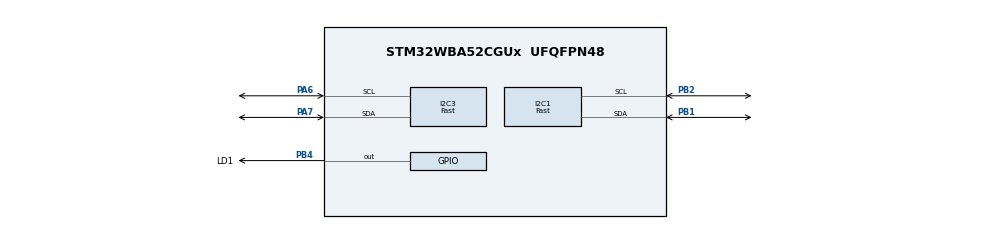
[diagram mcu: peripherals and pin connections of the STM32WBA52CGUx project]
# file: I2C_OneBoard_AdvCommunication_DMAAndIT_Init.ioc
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CORTEX_M33_NS.userName=CORTEX_M33
GPDMA1.CIRCULARMODE_GPDMACH0=DISABLE
GPDMA1.CIRCULARMODE_GPDMACH1=DISABLE
GPDMA1.DESTDATAWIDTH_GPDMACH0=DMA_DEST_DATAWIDTH_BYTE
GPDMA1.DESTDATAWIDTH_GPDMACH1=DMA_DEST_DATAWIDTH_BYTE
GPDMA1.DESTINC_GPDMACH1=DMA_DINC_INCREMENTED
GPDMA1.DIRECTION_GPDMACH0=DMA_MEMORY_TO_PERIPH
GPDMA1.IPHANDLE_GPDMACH0-SIMPLEREQUEST_GPDMACH0=__NULL
GPDMA1.IPHANDLE_GPDMACH1-SIMPLEREQUEST_GPDMACH1=__NULL
GPDMA1.PRIORITY_GPDMACH0=DMA_LOW_PRIORITY_HIGH_WEIGHT
GPDMA1.PRIORITY_GPDMACH1=DMA_LOW_PRIORITY_HIGH_WEIGHT
GPDMA1.REQUEST_GPDMACH0=GPDMA1_REQUEST_I2C3_TX
GPDMA1.REQUEST_GPDMACH1=GPDMA1_REQUEST_I2C3_RX
GPDMA1.SRCDATAWIDTH_GPDMACH0=DMA_SRC_DATAWIDTH_BYTE
GPDMA1.SRCDATAWIDTH_GPDMACH1=DMA_SRC_DATAWIDTH_BYTE
GPDMA1.SRCINC_GPDMACH0=DMA_SINC_INCREMENTED
I2C1.AddressingMode=I2C_ADDRESSINGMODE_7BIT
I2C1.Analog_Filter=I2C_ANALOGFILTER_ENABLE
I2C1.DualAddressMode=I2C_DUALADDRESS_DISABLE
I2C1.GeneralCallMode=I2C_GENERALCALL_DISABLE
I2C1.I2C_Coeff_DF=0x0
I2C1.I2C_Fall_Time=10
I2C1.I2C_Rise_Time=100
I2C1.I2C_Speed_Mode=I2C_Fast
I2C1.NoStretchMode=I2C_NOSTRETCH_DISABLE
I2C1.OwnAddress=0x5a
I2C1.Speed=400
I2C1.Timing=0x20601138
I2C3.AddressingMode=I2C_ADDRESSINGMODE_7BIT
I2C3.Analog_Filter=I2C_ANALOGFILTER_ENABLE
I2C3.DualAddressMode=I2C_DUALADDRESS_DISABLE
I2C3.GeneralCallMode=I2C_GENERALCALL_DISABLE
I2C3.I2C_Coeff_DF=0
I2C3.I2C_Fall_Time=10
I2C3.I2C_Rise_Time=100
I2C3.I2C_Speed_Mode=I2C_Fast
I2C3.NoStretchMode=I2C_NOSTRETCH_DISABLE
I2C3.OwnAddress=0
I2C3.Speed=400
I2C3.Timing=0x20601138
Mcu.Family=STM32WBA
Mcu.Name=STM32WBA52CGUx
Mcu.Package=UFQFPN48
NVIC.GPDMA1_Channel0_IRQn=true\:0\:0\:false\:false\:true\:false\:true\:true
NVIC.GPDMA1_Channel1_IRQn=true\:0\:0\:false\:false\:true\:false\:true\:true
NVIC.PriorityGroup=NVIC_PRIORITYGROUP_4
OSC_IN.Mode=HSE-External-Oscillator
OSC_IN.Signal=RCC_OSC_IN
OSC_OUT.Mode=HSE-External-Oscillator
OSC_OUT.Signal=RCC_OSC_OUT
PA6.GPIO_Pu=GPIO_PULLUP
PA6.GPIO_Speed=GPIO_SPEED_FREQ_HIGH
PA6.Mode=I2C
PA6.Signal=I2C3_SCL
PA7.GPIO_Pu=GPIO_PULLUP
PA7.GPIO_Speed=GPIO_SPEED_FREQ_HIGH
PA7.Mode=I2C
PA7.Signal=I2C3_SDA
PB1.GPIO_Pu=GPIO_PULLUP
PB1.GPIO_Speed=GPIO_SPEED_FREQ_HIGH
PB1.Mode=I2C
PB1.Signal=I2C1_SDA
PB2.GPIO_Pu=GPIO_PULLUP
PB2.GPIO_Speed=GPIO_SPEED_FREQ_HIGH
PB2.Mode=I2C
PB2.Signal=I2C1_SCL
PB4\ (NJTRST).GPIO_Label=LD1
PB4\ (NJTRST).PinState=GPIO_PIN_SET
PB4\ (NJTRST).Signal=GPIO_Output
ProjectManager.HeapSize=0x200
ProjectManager.StackSize=0x400
ProjectManager.TargetToolchain=EWARM V9.20
RCC.ADCFreq_Value=100000000
RCC.AHB5CLKDivider=DIV4
RCC.AHBFreq_Value=100000000
RCC.APB1Freq_Value=100000000
RCC.APB1TimFreq_Value=100000000
RCC.APB2Freq_Value=100000000
RCC.APB2TimFreq_Value=100000000
RCC.CortexFreq_Value=12500000
RCC.HCLKFreq_Value=100000000
RCC.HSE_VALUE=32000000
RCC.HSI_VALUE=16000000
RCC.LSE_VALUE=32768
RCC.PLLM=4
RCC.PLLN=25
RCC.PLLSourceVirtual=RCC_PLLSOURCE_HSE
RCC.SYSCLKFreq_VALUE=100000000
RCC.SYSCLKSourceVirtual=RCC_SYSCLKSOURCE_PLLCLK
RCC.VCOOutputFreq_Value=200000000
VP_GPDMA1_VS_GPDMACH0.Mode=SIMPLEREQUEST_GPDMACH0
VP_GPDMA1_VS_GPDMACH1.Mode=SIMPLEREQUEST_GPDMACH1
VP_ICACHE_VS_ICACHE.Mode=DirectMappedCache
VP_PWR_VS_SECSignals.Mode=Security/Privilege
board=custom

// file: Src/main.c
/* USER CODE BEGIN Header */
/**
  ******************************************************************************
  * @file    Examples_LL/I2C/I2C_OneBoard_AdvCommunication_DMAAndIT_Init/Src/main.c
  * @author  MCD Application Team
  * @brief   This example describes how to send/receive bytes over I2C IP using
  *          the STM32WBAxx I2C LL API.
  *          Peripheral initialization done using LL unitary services functions.
  ******************************************************************************
  * @attention
  *
  * Copyright (c) 2023 STMicroelectronics.
  * All rights reserved.
  *
  * This software is licensed under terms that can be found in the LICENSE file
  * in the root directory of this software component.
  * If no LICENSE file comes with this software, it is provided AS-IS.
  *
  ******************************************************************************
  */
/* USER CODE END Header */
#include "main.h"

/* USER CODE BEGIN PD */
/**
  * @brief Timeout value
  */
#if (USE_TIMEOUT == 1)
#define DMA_SEND_TIMEOUT_TC_MS          5
#define I2C_SEND_TIMEOUT_TC_MS          2
#define I2C_SEND_TIMEOUT_STOP_MS        5
#endif /* USE_TIMEOUT */

/**
  * @brief I2C devices settings
  */
#define SLAVE_CHIP_NAME                 0
#define SLAVE_CHIP_REVISION             1

/* USER CODE END PD */

/* USER CODE BEGIN PV */
#if (USE_TIMEOUT == 1)
uint32_t Timeout                        = 0; /* Variable used for Timeout management */
#endif /* USE_TIMEOUT */
__IO uint8_t  ubButtonPress             = 0;

/**
  * @brief Variables related to Master process
  */
/* aCommandCode declaration array    */
/* [CommandCode][RequestSlaveAnswer] */
/* {CODE, YES/NO}                    */
char  *aCommandCode[4][4]         =
{
  {"CHIP NAME", "YES"},
  {"CHIP REVISION", "YES"},
  {"LOW POWER", "NO"},
  {"WAKE UP", "NO"}
};

uint32_t     *pMasterTransmitBuffer     = (uint32_t *)(&aCommandCode[0][0]);
uint8_t       ubMasterNbCommandCode     = sizeof(aCommandCode[0][0]);
uint8_t       aMasterReceiveBuffer[0xF] = {0};
__IO uint8_t  ubMasterNbDataToReceive   = sizeof(aMasterReceiveBuffer);
__IO uint8_t  ubMasterNbDataToTransmit  = 0;
uint8_t       ubMasterCommandIndex      = 0;
__IO uint8_t  ubMasterReceiveIndex      = 0;
__IO uint8_t  ubMasterTransferComplete  = 0;

/**
  * @brief Variables related to Slave process
  */
char   *aSlaveInfo[]              =
{
  "STM32WBA52CG",
  "1.2.3"
};

uint8_t       aSlaveReceiveBuffer[0xF]  = {0};
uint8_t       aSlaveNbDataReceived      = sizeof(aSlaveReceiveBuffer);
uint8_t      *pSlaveTransmitBuffer      = 0;
uint8_t       ubSlaveInfoIndex          = 0xFF;
__IO uint8_t  ubSlaveReceiveIndex       = 0;
__IO uint8_t  ubSlaveReceiveComplete    = 0;

/* USER CODE END PV */

void SystemClock_Config(void);
static void MX_GPIO_Init(void);
static void MX_GPDMA1_Init(void);
static void MX_I2C1_Init(void);
static void MX_I2C3_Init(void);
static void MX_ICACHE_Init(void);
/* USER CODE BEGIN PFP */
uint8_t  Buffercmp8(uint8_t *pBuffer1, uint8_t *pBuffer2, uint8_t BufferLength);
//void     FlushBuffer8(uint8_t *pBuffer1);
void     FlushBuffer8(uint8_t *pBuffer1, uint8_t Buffer1Length);
void     LED_On(void);
void     LED_Off(void);
void     LED_Blinking(uint32_t Period);
void     UserButton_Init(void);
void     WaitForUserButtonPress(void);
void     Handle_I2C_Master_Transmit(void);
void     Handle_I2C_Master_TransmitReceive(void);
#if defined(__GNUC__) && !defined(__ARMCC_VERSION)
extern void initialise_monitor_handles(void); /*rtt*/
#endif

/* USER CODE END PFP */

int main(void)
{

  /* MCU Configuration--------------------------------------------------------*/

  /* Reset of all peripherals, Initializes the Flash interface and the Systick. */

  /* System interrupt init*/
  NVIC_SetPriorityGrouping(NVIC_PRIORITYGROUP_4);

  /* SysTick_IRQn interrupt configuration */
  NVIC_SetPriority(SysTick_IRQn, NVIC_EncodePriority(NVIC_GetPriorityGrouping(),15, 0));

  /* Enable PWR clock interface */

  LL_AHB4_GRP1_EnableClock(LL_AHB4_GRP1_PERIPH_PWR);

  /* Configure the system clock */
  SystemClock_Config();

  /* Initialize all configured peripherals */
  MX_GPIO_Init();
  MX_GPDMA1_Init();
  MX_I2C1_Init();
  MX_I2C3_Init();
  MX_ICACHE_Init();
  /* USER CODE BEGIN 2 */
#if defined(__GNUC__) && !defined(__ARMCC_VERSION)
  initialise_monitor_handles(); /*rtt*/
#endif
  UserButton_Init();
  /* Set LD1 Off */
  LED_Off();

  /* USER CODE END 2 */

  /* Infinite loop */
  while (1)
  {

    /* USER CODE BEGIN 3 */

    /* Wait for USER push-button press to start transfer */
    WaitForUserButtonPress();

    /* Clear USER push-button related variable */
    ubButtonPress = 0;

    if (strncmp(aCommandCode[ubMasterCommandIndex][1], "NO", 2) == 0)
    {
      /* Handle I2C3 events (Master Transmit only) */
      Handle_I2C_Master_Transmit();
    }
    else
    {
      /* Handle I2C3 events (Master Transmit then Receive) */
      Handle_I2C_Master_TransmitReceive();
    }

    /* Prepare Index to send next command code */
    ubMasterCommandIndex++;
    if (ubMasterCommandIndex >= ubMasterNbCommandCode)
    {
      ubMasterCommandIndex = 0;
    }
  }
  /* USER CODE END 3 */
}

void SystemClock_Config(void)
{
  LL_FLASH_SetLatency(LL_FLASH_LATENCY_3);
  while(LL_FLASH_GetLatency()!= LL_FLASH_LATENCY_3)
  {
  }

  LL_PWR_SetRegulVoltageScaling(LL_PWR_REGU_VOLTAGE_SCALE1);
  LL_RCC_HSE_Enable();

   /* Wait till HSE is ready */
  while(LL_RCC_HSE_IsReady() != 1)
  {
  }

  LL_RCC_PLL1_ConfigDomain_SYS(LL_RCC_PLL1SOURCE_HSE, 4, 25, 2);
  LL_RCC_PLL1_EnableDomain_PLL1R();
  LL_RCC_PLL1_SetVCOInputRange(LL_RCC_PLLINPUTRANGE_8_16);
  LL_RCC_PLL1_Enable();

   /* Wait till PLL is ready */
  while(LL_RCC_PLL1_IsReady() != 1)
  {
  }

  LL_RCC_SetSysClkSource(LL_RCC_SYS_CLKSOURCE_PLL1R);

   /* Wait till System clock is ready */
  while(LL_RCC_GetSysClkSource() != LL_RCC_SYS_CLKSOURCE_STATUS_PLL1R)
  {
  }

  LL_RCC_SetAHBPrescaler(LL_RCC_SYSCLK_DIV_1);
  LL_RCC_SetAHB5Prescaler(LL_RCC_AHB5_DIV_4);
  LL_RCC_SetAPB1Prescaler(LL_RCC_APB1_DIV_1);
  LL_RCC_SetAPB2Prescaler(LL_RCC_APB2_DIV_1);
  LL_RCC_SetAPB7Prescaler(LL_RCC_APB7_DIV_1);

  LL_Init1msTick(100000000);

  LL_SetSystemCoreClock(100000000);
}

static void MX_GPDMA1_Init(void)
{

  /* Peripheral clock enable */
  LL_AHB1_GRP1_EnableClock(LL_AHB1_GRP1_PERIPH_GPDMA1);

  /* GPDMA1 interrupt Init */
  NVIC_SetPriority(GPDMA1_Channel0_IRQn, NVIC_EncodePriority(NVIC_GetPriorityGrouping(),0, 0));
  NVIC_EnableIRQ(GPDMA1_Channel0_IRQn);
  NVIC_SetPriority(GPDMA1_Channel1_IRQn, NVIC_EncodePriority(NVIC_GetPriorityGrouping(),0, 0));
  NVIC_EnableIRQ(GPDMA1_Channel1_IRQn);

}

static void MX_I2C1_Init(void)
{

  LL_I2C_InitTypeDef I2C_InitStruct = {0};

  LL_GPIO_InitTypeDef GPIO_InitStruct = {0};

  LL_RCC_SetI2CClockSource(LL_RCC_I2C1_CLKSOURCE_PCLK1);

  LL_AHB2_GRP1_EnableClock(LL_AHB2_GRP1_PERIPH_GPIOB);
  /**I2C1 GPIO Configuration
  PB2   ------> I2C1_SCL
  PB1   ------> I2C1_SDA
  */
  GPIO_InitStruct.Pin = LL_GPIO_PIN_2|LL_GPIO_PIN_1;
  GPIO_InitStruct.Mode = LL_GPIO_MODE_ALTERNATE;
  GPIO_InitStruct.Speed = LL_GPIO_SPEED_FREQ_HIGH;
  GPIO_InitStruct.OutputType = LL_GPIO_OUTPUT_OPENDRAIN;
  GPIO_InitStruct.Pull = LL_GPIO_PULL_UP;
  GPIO_InitStruct.Alternate = LL_GPIO_AF_4;
  LL_GPIO_Init(GPIOB, &GPIO_InitStruct);

  /* Peripheral clock enable */
  LL_APB1_GRP1_EnableClock(LL_APB1_GRP1_PERIPH_I2C1);

  /* USER CODE BEGIN I2C1_Init 1 */
  /* Configure Event IT:
   *  - Set priority for I2C1_EV_IRQn
   *  - Enable I2C1_EV_IRQn
   */
  NVIC_SetPriority(I2C1_EV_IRQn, 0xF);
  NVIC_EnableIRQ(I2C1_EV_IRQn);

  /* Configure Error IT:
   *  - Set priority for I2C1_ER_IRQn
   *  - Enable I2C1_ER_IRQn
   */
  NVIC_SetPriority(I2C1_ER_IRQn, 0xF);
  NVIC_EnableIRQ(I2C1_ER_IRQn);
  /* USER CODE END I2C1_Init 1 */

  /** I2C Initialization
  */
  LL_I2C_EnableAutoEndMode(I2C1);
  LL_I2C_DisableOwnAddress2(I2C1);
  LL_I2C_DisableGeneralCall(I2C1);
  LL_I2C_EnableClockStretching(I2C1);
  I2C_InitStruct.PeripheralMode = LL_I2C_MODE_I2C;
  I2C_InitStruct.Timing = 0x20601138;
  I2C_InitStruct.AnalogFilter = LL_I2C_ANALOGFILTER_ENABLE;
  I2C_InitStruct.DigitalFilter = 0x0;
  I2C_InitStruct.OwnAddress1 = 180;
  I2C_InitStruct.TypeAcknowledge = LL_I2C_ACK;
  I2C_InitStruct.OwnAddrSize = LL_I2C_OWNADDRESS1_7BIT;
  LL_I2C_Init(I2C1, &I2C_InitStruct);
  LL_I2C_SetOwnAddress2(I2C1, 0, LL_I2C_OWNADDRESS2_NOMASK);
  /* USER CODE BEGIN I2C1_Init 2 */
  LL_I2C_EnableIT_ADDR(I2C1);
  LL_I2C_EnableIT_NACK(I2C1);
  LL_I2C_EnableIT_ERR(I2C1);
  LL_I2C_EnableIT_STOP(I2C1);
  /* USER CODE END I2C1_Init 2 */

}

static void MX_I2C3_Init(void)
{

  LL_I2C_InitTypeDef I2C_InitStruct = {0};

  LL_GPIO_InitTypeDef GPIO_InitStruct = {0};
  LL_DMA_InitTypeDef DMA_InitStruct = {0};

  LL_RCC_SetI2CClockSource(LL_RCC_I2C3_CLKSOURCE_PCLK7);

  LL_AHB2_GRP1_EnableClock(LL_AHB2_GRP1_PERIPH_GPIOA);
  /**I2C3 GPIO Configuration
  PA7   ------> I2C3_SDA
  PA6   ------> I2C3_SCL
  */
  GPIO_InitStruct.Pin = LL_GPIO_PIN_7|LL_GPIO_PIN_6;
  GPIO_InitStruct.Mode = LL_GPIO_MODE_ALTERNATE;
  GPIO_InitStruct.Speed = LL_GPIO_SPEED_FREQ_HIGH;
  GPIO_InitStruct.OutputType = LL_GPIO_OUTPUT_OPENDRAIN;
  GPIO_InitStruct.Pull = LL_GPIO_PULL_UP;
  GPIO_InitStruct.Alternate = LL_GPIO_AF_4;
  LL_GPIO_Init(GPIOA, &GPIO_InitStruct);

  /* Peripheral clock enable */
  LL_APB7_GRP1_EnableClock(LL_APB7_GRP1_PERIPH_I2C3);

  /* I2C3 DMA Init */

  /* GPDMA1_REQUEST_I2C3_RX Init */
  DMA_InitStruct.SrcAddress = 0x00000000U;
  DMA_InitStruct.DestAddress = 0x00000000U;
  DMA_InitStruct.Direction = LL_DMA_DIRECTION_PERIPH_TO_MEMORY;
  DMA_InitStruct.BlkHWRequest = LL_DMA_HWREQUEST_SINGLEBURST;
  DMA_InitStruct.DataAlignment = LL_DMA_DATA_ALIGN_ZEROPADD;
  DMA_InitStruct.SrcBurstLength = 1;
  DMA_InitStruct.DestBurstLength = 1;
  DMA_InitStruct.SrcDataWidth = LL_DMA_SRC_DATAWIDTH_BYTE;
  DMA_InitStruct.DestDataWidth = LL_DMA_DEST_DATAWIDTH_BYTE;
  DMA_InitStruct.SrcIncMode = LL_DMA_SRC_FIXED;
  DMA_InitStruct.DestIncMode = LL_DMA_DEST_INCREMENT;
  DMA_InitStruct.Priority = LL_DMA_LOW_PRIORITY_HIGH_WEIGHT;
  DMA_InitStruct.BlkDataLength = 0x00000000U;
  DMA_InitStruct.TriggerMode = LL_DMA_TRIGM_BLK_TRANSFER;
  DMA_InitStruct.TriggerPolarity = LL_DMA_TRIG_POLARITY_MASKED;
  DMA_InitStruct.TriggerSelection = 0x00000000U;
  DMA_InitStruct.Request = LL_GPDMA1_REQUEST_I2C3_RX;
  DMA_InitStruct.TransferEventMode = LL_DMA_TCEM_BLK_TRANSFER;
  DMA_InitStruct.SrcAllocatedPort = LL_DMA_SRC_ALLOCATED_PORT0;
  DMA_InitStruct.DestAllocatedPort = LL_DMA_DEST_ALLOCATED_PORT0;
  DMA_InitStruct.LinkAllocatedPort = LL_DMA_LINK_ALLOCATED_PORT1;
  DMA_InitStruct.LinkStepMode = LL_DMA_LSM_FULL_EXECUTION;
  DMA_InitStruct.LinkedListBaseAddr = 0x00000000U;
  DMA_InitStruct.LinkedListAddrOffset = 0x00000000U;
  LL_DMA_Init(GPDMA1, LL_DMA_CHANNEL_1, &DMA_InitStruct);

  /* GPDMA1_REQUEST_I2C3_TX Init */
  DMA_InitStruct.SrcAddress = 0x00000000U;
  DMA_InitStruct.DestAddress = 0x00000000U;
  DMA_InitStruct.Direction = LL_DMA_DIRECTION_MEMORY_TO_PERIPH;
  DMA_InitStruct.BlkHWRequest = LL_DMA_HWREQUEST_SINGLEBURST;
  DMA_InitStruct.DataAlignment = LL_DMA_DATA_ALIGN_ZEROPADD;
  DMA_InitStruct.SrcBurstLength = 1;
  DMA_InitStruct.DestBurstLength = 1;
  DMA_InitStruct.SrcDataWidth = LL_DMA_SRC_DATAWIDTH_BYTE;
  DMA_InitStruct.DestDataWidth = LL_DMA_DEST_DATAWIDTH_BYTE;
  DMA_InitStruct.SrcIncMode = LL_DMA_SRC_INCREMENT;
  DMA_InitStruct.DestIncMode = LL_DMA_DEST_FIXED;
  DMA_InitStruct.Priority = LL_DMA_LOW_PRIORITY_HIGH_WEIGHT;
  DMA_InitStruct.BlkDataLength = 0x00000000U;
  DMA_InitStruct.TriggerMode = LL_DMA_TRIGM_BLK_TRANSFER;
  DMA_InitStruct.TriggerPolarity = LL_DMA_TRIG_POLARITY_MASKED;
  DMA_InitStruct.TriggerSelection = 0x00000000U;
  DMA_InitStruct.Request = LL_GPDMA1_REQUEST_I2C3_TX;
  DMA_InitStruct.TransferEventMode = LL_DMA_TCEM_BLK_TRANSFER;
  DMA_InitStruct.SrcAllocatedPort = LL_DMA_SRC_ALLOCATED_PORT0;
  DMA_InitStruct.DestAllocatedPort = LL_DMA_DEST_ALLOCATED_PORT0;
  DMA_InitStruct.LinkAllocatedPort = LL_DMA_LINK_ALLOCATED_PORT1;
  DMA_InitStruct.LinkStepMode = LL_DMA_LSM_FULL_EXECUTION;
  DMA_InitStruct.LinkedListBaseAddr = 0x00000000U;
  DMA_InitStruct.LinkedListAddrOffset = 0x00000000U;
  LL_DMA_Init(GPDMA1, LL_DMA_CHANNEL_0, &DMA_InitStruct);

  /* USER CODE BEGIN I2C3_Init 1 */
//  LL_DMA_SetBlkDataLength(GPDMA1, LL_DMA_CHANNEL_0, ubMasterNbCommandCode);
  LL_DMA_ConfigAddresses(GPDMA1, LL_DMA_CHANNEL_0, (uint32_t)(*pMasterTransmitBuffer), (uint32_t)LL_I2C_DMA_GetRegAddr(I2C3, LL_I2C_DMA_REG_DATA_TRANSMIT));
//  LL_DMA_SetBlkDataLength(GPDMA1, LL_DMA_CHANNEL_1, ubMasterNbDataToReceive);
  LL_DMA_ConfigAddresses(GPDMA1, LL_DMA_CHANNEL_1, (uint32_t)LL_I2C_DMA_GetRegAddr(I2C3, LL_I2C_DMA_REG_DATA_RECEIVE), (uint32_t)&(aMasterReceiveBuffer));
  LL_DMA_EnableIT_TC(GPDMA1, LL_DMA_CHANNEL_0);
  LL_DMA_EnableIT_DTE(GPDMA1, LL_DMA_CHANNEL_0);
  LL_DMA_EnableIT_TC(GPDMA1, LL_DMA_CHANNEL_1);
  LL_DMA_EnableIT_DTE(GPDMA1, LL_DMA_CHANNEL_1);

  /* USER CODE END I2C3_Init 1 */

  /** I2C Initialization
  */
  LL_I2C_EnableAutoEndMode(I2C3);
  LL_I2C_DisableOwnAddress2(I2C3);
  LL_I2C_DisableGeneralCall(I2C3);
  LL_I2C_EnableClockStretching(I2C3);
  I2C_InitStruct.PeripheralMode = LL_I2C_MODE_I2C;
  I2C_InitStruct.Timing = 0x20601138;
  I2C_InitStruct.AnalogFilter = LL_I2C_ANALOGFILTER_ENABLE;
  I2C_InitStruct.DigitalFilter = 0;
  I2C_InitStruct.OwnAddress1 = 0;
  I2C_InitStruct.TypeAcknowledge = LL_I2C_ACK;
  I2C_InitStruct.OwnAddrSize = LL_I2C_OWNADDRESS1_7BIT;
  LL_I2C_Init(I2C3, &I2C_InitStruct);
  LL_I2C_SetOwnAddress2(I2C3, 0, LL_I2C_OWNADDRESS2_NOMASK);
  /* USER CODE BEGIN I2C3_Init 2 */
  LL_I2C_EnableDMAReq_RX(I2C3);
  LL_I2C_EnableDMAReq_TX(I2C3);
  LL_I2C_Enable(I2C3);
  /* USER CODE END I2C3_Init 2 */

}

static void MX_ICACHE_Init(void)
{

  /** Enable instruction cache in 1-way (direct mapped cache)
  */
  LL_ICACHE_SetMode(LL_ICACHE_1WAY);
  LL_ICACHE_Enable();

}

static void MX_GPIO_Init(void)
{
  LL_GPIO_InitTypeDef GPIO_InitStruct = {0};

  /* GPIO Ports Clock Enable */
  LL_AHB2_GRP1_EnableClock(LL_AHB2_GRP1_PERIPH_GPIOA);
  LL_AHB2_GRP1_EnableClock(LL_AHB2_GRP1_PERIPH_GPIOB);

  /**/
  LL_GPIO_SetOutputPin(LD1_GPIO_Port, LD1_Pin);

  /**/
  GPIO_InitStruct.Pin = LD1_Pin;
  GPIO_InitStruct.Mode = LL_GPIO_MODE_OUTPUT;
  GPIO_InitStruct.Speed = LL_GPIO_SPEED_FREQ_LOW;
  GPIO_InitStruct.OutputType = LL_GPIO_OUTPUT_PUSHPULL;
  GPIO_InitStruct.Pull = LL_GPIO_PULL_NO;
  LL_GPIO_Init(LD1_GPIO_Port, &GPIO_InitStruct);

}

/* USER CODE BEGIN 4 */

/**
  * @brief  Flush 8-bit buffer.
  * @param  pBuffer1: pointer to the buffer to be flushed.
  * @retval None
  */
//void FlushBuffer8(uint8_t *pBuffer1)
//{
//  uint8_t Index = 0;
//
//  for (Index = 0; Index < sizeof(pBuffer1); Index++)
//  {
//    pBuffer1[Index] = 0;
//  }
//}
void FlushBuffer8(uint8_t *pBuffer1, uint8_t Buffer1Length)
{
  uint8_t Index = 0;

  for (Index = 0; Index < Buffer1Length; Index++)
  {
    pBuffer1[Index] = 0;
  }
}

/**
  * @brief  Compares two 8-bit buffers and returns the comparison result.
  * @param  pBuffer1: pointer to the source buffer to be compared to.
  * @param  pBuffer2: pointer to the second source buffer to be compared to the first.
  * @param  BufferLength: buffer's length.
  * @retval 0: Comparison is OK (the two Buffers are identical)
  *         Value different from 0: Comparison is NOK (Buffers are different)
  */
uint8_t Buffercmp8(uint8_t *pBuffer1, uint8_t *pBuffer2, uint8_t BufferLength)
{
  while (BufferLength--)
  {
    if (*pBuffer1 != *pBuffer2)
    {
      return 1;
    }

    pBuffer1++;
    pBuffer2++;
  }

  return 0;
}
/**
  * @brief  Turn-on LD1.
  * @param  None
  * @retval None
  */
void LED_On(void)
{
  /* Turn LD1 on */
  LL_GPIO_ResetOutputPin(LD1_GPIO_Port, LD1_Pin);
}

/**
  * @brief  Turn-off LD1.
  * @param  None
  * @retval None
  */
void LED_Off(void)
{
  /* Turn LD1 off */
  LL_GPIO_SetOutputPin(LD1_GPIO_Port, LD1_Pin);
}

/**
  * @brief  Set LD1 to Blinking mode for an infinite loop (toggle period based on value provided as input parameter).
  * @param  Period : Period of time (in ms) between each toggling of LED
  *   This parameter can be user defined values. Pre-defined values used in that example are :
  *     @arg LED_BLINK_FAST : Fast Blinking
  *     @arg LED_BLINK_SLOW : Slow Blinking
  *     @arg LED_BLINK_ERROR : Error specific Blinking
  * @retval None
  */
void LED_Blinking(uint32_t Period)
{
  /* Turn LD1 on */
  LL_GPIO_ResetOutputPin(LD1_GPIO_Port, LD1_Pin);

  /* Toggle IO in an infinite loop */
  while (1)
  {
    LL_GPIO_TogglePin(LD1_GPIO_Port, LD1_Pin);
    LL_mDelay(Period);
  }
}

/**
  * @brief  Configures USER push-button in GPIO or EXTI Line Mode.
  * @param  None
  * @retval None
  */
void UserButton_Init(void)
{
  /* Enable the BUTTON Clock */
  USER_BUTTON_GPIO_CLK_ENABLE();

  /* Configure GPIO for BUTTON */
  LL_GPIO_SetPinMode(USER_BUTTON_GPIO_PORT, USER_BUTTON_PIN, LL_GPIO_MODE_INPUT);
  LL_GPIO_SetPinPull(USER_BUTTON_GPIO_PORT, USER_BUTTON_PIN, LL_GPIO_PULL_UP);

  /* Connect External Line to the GPIO*/
  USER_BUTTON_SYSCFG_SET_EXTI();

  /* Enable a Falling trigger External line 13 Interrupt */
  USER_BUTTON_EXTI_LINE_ENABLE();
  USER_BUTTON_EXTI_FALLING_TRIG_ENABLE();

  /* Configure NVIC for USER_BUTTON_EXTI_IRQn */
  NVIC_SetPriority(USER_BUTTON_EXTI_IRQn, 3);
  NVIC_EnableIRQ(USER_BUTTON_EXTI_IRQn);
}
/**
  * @brief  Wait for USER push-button press to start transfer.
  * @param  None
  * @retval None
  */
/*  */
void WaitForUserButtonPress(void)
{
  while (ubButtonPress == 0)
  {
    LL_GPIO_TogglePin(LD1_GPIO_Port, LD1_Pin);
    LL_mDelay(LED_BLINK_FAST);
  }
  /* Turn LD1 off */
  LL_GPIO_SetOutputPin(LD1_GPIO_Port, LD1_Pin);
}

/**
  * @brief  This Function handle Master events to perform a transmission process
  * @note  This function is composed in different steps :
  *        -1- Configure DMA parameters for Command Code transfer.
  *        -2- Enable DMA transfer.
  *        -3- Initiate a Start condition to the Slave device.
  *        -4- Loop until end of DMA transfer completed (DMA TC raised).
  *        -5- Loop until end of master transfer completed (STOP flag raised).
  *        -6- Clear pending flags, Data Command Code are checking into Slave process.
  * @param  None
  * @retval None
  */
void Handle_I2C_Master_Transmit(void)
{
  /* (1) Configure DMA parameters for Command Code transfer *******************/
  pMasterTransmitBuffer    = (uint32_t *)(&aCommandCode[ubMasterCommandIndex][0]);
  ubMasterNbDataToTransmit = strlen((char *)pMasterTransmitBuffer[0]);

  LL_DMA_SetSrcAddress(GPDMA1, LL_DMA_CHANNEL_0, (uint32_t)(*pMasterTransmitBuffer));
  LL_DMA_SetBlkDataLength(GPDMA1, LL_DMA_CHANNEL_0, ubMasterNbDataToTransmit);
  /* (2) Enable DMA transfer **************************************************/
  LL_DMA_EnableChannel(GPDMA1, LL_DMA_CHANNEL_0);
  /* (3) Initiate a Start condition to the Slave device ***********************/

  /* Master Generate Start condition for a write request:
   *  - to the Slave with a 7-Bit SLAVE_OWN_ADDRESS
   *  - with a auto stop condition generation when transmit all bytes
   *  - No specific answer is needed from Slave Device, configure auto-stop condition
   */
  LL_I2C_HandleTransfer(I2C3, SLAVE_OWN_ADDRESS, LL_I2C_ADDRSLAVE_7BIT, ubMasterNbDataToTransmit, LL_I2C_MODE_AUTOEND, LL_I2C_GENERATE_START_WRITE);

  /* (4) Loop until end of transfer completed (DMA TC raised) *****************/

#if (USE_TIMEOUT == 1)
  Timeout = DMA_SEND_TIMEOUT_TC_MS;
#endif /* USE_TIMEOUT */

  /* Loop until DMA transfer complete event */
  while (!ubMasterTransferComplete)
  {
#if (USE_TIMEOUT == 1)
    /* Check Systick counter flag to decrement the time-out value */
    if (LL_SYSTICK_IsActiveCounterFlag())
    {
      if (Timeout-- == 0)
      {
        /* Time-out occurred. Set LED to blinking mode */
        LED_Blinking(LED_BLINK_SLOW);
      }
    }
#endif /* USE_TIMEOUT */
  }

  /* (5) Loop until end of master process completed (STOP flag raised) ********/
#if (USE_TIMEOUT == 1)
  Timeout = I2C_SEND_TIMEOUT_STOP_MS;
#endif /* USE_TIMEOUT */

  /* Loop until STOP flag is raised  */
  while (!LL_I2C_IsActiveFlag_STOP(I2C3))
  {
#if (USE_TIMEOUT == 1)
    /* Check Systick counter flag to decrement the time-out value */
    if (LL_SYSTICK_IsActiveCounterFlag())
    {
      if (Timeout-- == 0)
      {
        /* Time-out occurred. Set LD1 to blinking mode */
        LED_Blinking(LED_BLINK_SLOW);
      }
    }
#endif /* USE_TIMEOUT */
  }

  /* (6) Clear pending flags, Data Command Code are checking into Slave process */
  /* End of Master Process */
  LL_DMA_DisableChannel(GPDMA1, LL_DMA_CHANNEL_0);
  LL_I2C_ClearFlag_STOP(I2C3);

  /* Display through external Terminal IO the Slave Answer received */
  printf("%s : %s\n\r", (char *)(aCommandCode[ubMasterCommandIndex][0]), (char *)aMasterReceiveBuffer);

  /* Turn LD1 On */
  /* Master sequence completed successfully*/
  LED_On();
  /* Keep LD1 On, 500 MilliSeconds */
  LL_mDelay(500);
  LED_Off();

  /* Clear and Reset process variables and arrays */
  ubMasterTransferComplete = 0;
  ubMasterNbDataToTransmit = 0;
  ubMasterReceiveIndex     = 0;
  FlushBuffer8(aMasterReceiveBuffer, ubMasterNbDataToReceive);
}

/**
  * @brief  This Function handle Master events to perform a transmission then a reception process
  * @note   This function is composed in different steps :
  *         -1- Configure DMA parameters for Command Code transfer.
  *         -2- Enable DMA transfer.
  *         -3- Initiate a Start condition to the Slave device.
  *         -4- Loop until end of DMA transfer completed (DMA TC raised).
  *         -5- Loop until end of master transfer completed (TC flag raised).
  *         -6- Configure DMA to receive data from slave.
  *         -7- Initiate a ReStart condition to the Slave device.
  *         -8- Loop until end of master process completed (STOP flag raised).
  *         -9- Clear pending flags, Data Command Code are checking into Slave process.
  * @param  None
  * @retval None
  */
void Handle_I2C_Master_TransmitReceive(void)
{
  /* (1) Configure DMA parameters for Command Code transfer *******************/
  pMasterTransmitBuffer    = (uint32_t *)(&aCommandCode[ubMasterCommandIndex][0]);
  ubMasterNbDataToTransmit = strlen((char *)pMasterTransmitBuffer[0]);

  LL_DMA_SetSrcAddress(GPDMA1, LL_DMA_CHANNEL_0, (uint32_t)(*pMasterTransmitBuffer));
  LL_DMA_SetBlkDataLength(GPDMA1, LL_DMA_CHANNEL_0, ubMasterNbDataToTransmit);

  /* (2) Enable DMA transfer **************************************************/
  LL_DMA_EnableChannel(GPDMA1, LL_DMA_CHANNEL_0);
  /* (3) Initiate a Start condition to the Slave device ***********************/

  /* Master Generate Start condition for a write request:
   *  - to the Slave with a 7-Bit SLAVE_OWN_ADDRESS
   *  - with a no stop condition generation when transmit all bytes
   *  - A specific answer is needed from Slave Device, configure no-stop condition
   */
  LL_I2C_HandleTransfer(I2C3, SLAVE_OWN_ADDRESS, LL_I2C_ADDRSLAVE_7BIT, ubMasterNbDataToTransmit, LL_I2C_MODE_SOFTEND, LL_I2C_GENERATE_START_WRITE);

  /* (4) Loop until end of transfer completed (DMA TC raised) *****************/

#if (USE_TIMEOUT == 1)
  Timeout = DMA_SEND_TIMEOUT_TC_MS;
#endif /* USE_TIMEOUT */

  /* Loop until DMA transfer complete event */
  while (!ubMasterTransferComplete)
  {
#if (USE_TIMEOUT == 1)
    /* Check Systick counter flag to decrement the time-out value */
    if (LL_SYSTICK_IsActiveCounterFlag())
    {
      if (Timeout-- == 0)
      {
        /* Time-out occurred. Set LED to blinking mode */
        LED_Blinking(LED_BLINK_SLOW);
      }
    }
#endif /* USE_TIMEOUT */
  }

  /* Reset ubMasterTransferComplete flag */
  ubMasterTransferComplete = 0;

  /* (5) Loop until end of master transfer completed (TC flag raised) *********/
  /* Wait Master Transfer completed */
#if (USE_TIMEOUT == 1)
  Timeout = I2C_SEND_TIMEOUT_TC_MS;
#endif /* USE_TIMEOUT */

  while (LL_I2C_IsActiveFlag_TC(I2C3) != 1)
  {
#if (USE_TIMEOUT == 1)
    /* Check Systick counter flag to decrement the time-out value */
    if (LL_SYSTICK_IsActiveCounterFlag())
    {
      if (Timeout-- == 0)
      {
        /* Time-out occurred. Set LED to blinking mode */
        LED_Blinking(LED_BLINK_SLOW);
      }
    }
#endif /* USE_TIMEOUT */
  }

  /* (6) Configure DMA to receive data from slave *****************************/
  LL_DMA_DisableChannel(GPDMA1, LL_DMA_CHANNEL_1);
  LL_DMA_SetDestAddress(GPDMA1, LL_DMA_CHANNEL_1, (uint32_t)&(aMasterReceiveBuffer));
  LL_DMA_SetBlkDataLength(GPDMA1, LL_DMA_CHANNEL_1, ubMasterNbDataToReceive);
  LL_DMA_EnableChannel(GPDMA1, LL_DMA_CHANNEL_1);

  /* (7) Initiate a ReStart condition to the Slave device *********************/
  /* Master Generate Start condition for a write request:
   *    - to the Slave with a 7-Bit SLAVE_OWN_ADDRESS
   *    - with a auto stop condition generation when transmit all bytes
   */
  LL_I2C_HandleTransfer(I2C3, SLAVE_OWN_ADDRESS, LL_I2C_ADDRSLAVE_7BIT, ubMasterNbDataToReceive, LL_I2C_MODE_AUTOEND, LL_I2C_GENERATE_RESTART_7BIT_READ);

  /* (8) Loop until end of master process completed (STOP flag raised) ********/
#if (USE_TIMEOUT == 1)
  Timeout = I2C_SEND_TIMEOUT_STOP_MS;
#endif /* USE_TIMEOUT */

  /* Loop until STOP flag is raised  */
  while (!LL_I2C_IsActiveFlag_STOP(I2C3))
  {
#if (USE_TIMEOUT == 1)
    /* Check Systick counter flag to decrement the time-out value */
    if (LL_SYSTICK_IsActiveCounterFlag())
    {
      if (Timeout-- == 0)
      {
        /* Time-out occurred. Set LD1 to blinking mode */
        LED_Blinking(LED_BLINK_SLOW);
      }
    }
#endif /* USE_TIMEOUT */
  }

  /* (9) Clear pending flags, Data Command Code are checking into Slave process */
  /* End of Master Process */
  LL_DMA_DisableChannel(GPDMA1, LL_DMA_CHANNEL_1);
  LL_I2C_ClearFlag_STOP(I2C3);

  /* Display through external Terminal IO the Slave Answer received */
  printf("%s : %s\n\r", (char *)(aCommandCode[ubMasterCommandIndex][0]), (char *)aMasterReceiveBuffer);

  /* Turn LD1 On */
  /* Master sequence completed successfully*/
  LED_On();
  /* Keep LD1 On, 500 MilliSeconds */
  LL_mDelay(500);
  LED_Off();

  /* Clear and Reset process variables and arrays */
  ubMasterTransferComplete = 0;
  ubMasterNbDataToTransmit = 0;
  ubMasterReceiveIndex     = 0;
  FlushBuffer8(aMasterReceiveBuffer, ubMasterNbDataToReceive);
}
/******************************************************************************/
/*   IRQ HANDLER TREATMENT Functions                                          */
/******************************************************************************/
/**
  * @brief  Function to manage USER push-button
  * @param  None
  * @retval None
  */
void UserButton_Callback(void)
{
  /* Update USER push-button variable : to be checked in waiting loop in main program */
  ubButtonPress = 1;
}

/**
  * @brief  Function called from I2C IRQ Handler when TXIS flag is set
  *         Function is in charge of transmit a byte on I2C lines.
  * @param  None
  * @retval None
  */
void Slave_Ready_To_Transmit_Callback(void)
{
  /* Send the Byte requested by the Master */
  LL_I2C_TransmitData8(I2C1, (uint8_t)(*pSlaveTransmitBuffer++));
}

/**
  * @brief  Function called from I2C IRQ Handler when RXNE flag is set
  *         Function is in charge of retrieving received byte on I2C lines.
  * @param  None
  * @retval None
  */
void Slave_Reception_Callback(void)
{
  /* Read character in Receive Data register.
  RXNE flag is cleared by reading data in RXDR register */
  aSlaveReceiveBuffer[ubSlaveReceiveIndex++] = LL_I2C_ReceiveData8(I2C1);

  /* Check Command code */
  if (Buffercmp8((uint8_t *)aSlaveReceiveBuffer, (uint8_t *)(aCommandCode[0][0]), (ubSlaveReceiveIndex - 1)) == 0)
  {
    ubSlaveInfoIndex = SLAVE_CHIP_NAME;
    pSlaveTransmitBuffer = (uint8_t *)(aSlaveInfo[ubSlaveInfoIndex]);
  }
  else if (Buffercmp8((uint8_t *)aSlaveReceiveBuffer, (uint8_t *)(aCommandCode[1][0]), (ubSlaveReceiveIndex - 1)) == 0)
  {
    ubSlaveInfoIndex = SLAVE_CHIP_REVISION;
    pSlaveTransmitBuffer = (uint8_t *)(aSlaveInfo[ubSlaveInfoIndex]);
  }
}

/**
  * @brief  Function called from I2C IRQ Handler when STOP flag is set
  *         Function is in charge of checking data received,
  *         LD1 is On if data are correct.
  * @param  None
  * @retval None
  */
void Slave_Complete_Callback(void)
{
  /* Clear and Reset process variables and arrays */
  ubSlaveReceiveIndex       = 0;
  ubSlaveReceiveComplete    = 0;
  FlushBuffer8(aSlaveReceiveBuffer, aSlaveNbDataReceived);
}

/**
  * @brief  DMA transfer complete callback
  * @note   This function is executed when the transfer complete interrupt
  *         is generated
  * @retval None
  */
void Transfer_Complete_Callback()
{
  /* DMA transfer completed */
  ubMasterTransferComplete = 1;
}

/**
  * @brief  DMA transfer error callback
  * @note   This function is executed when the transfer error interrupt
  *         is generated during DMA transfer
  * @retval None
  */
void Transfer_Error_Callback()
{
  /* Disable GPDMA1_Channel0_IRQn */
  NVIC_DisableIRQ(GPDMA1_Channel0_IRQn);

  /* Error detected during DMA transfer */
  LED_Blinking(LED_BLINK_ERROR);
}

/**
  * @brief  Function called in case of error detected in I2C IT Handler
  * @param  None
  * @retval None
  */
void Error_Callback(void)
{
  /* Disable I2C1_EV_IRQn */
  NVIC_DisableIRQ(I2C1_EV_IRQn);

  /* Disable I2C1_ER_IRQn */
  NVIC_DisableIRQ(I2C1_ER_IRQn);

  /* Unexpected event : Set LD1 to Blinking mode to indicate error occurs */
  LED_Blinking(LED_BLINK_ERROR);
}

/* USER CODE END 4 */

void Error_Handler(void)
{
}
